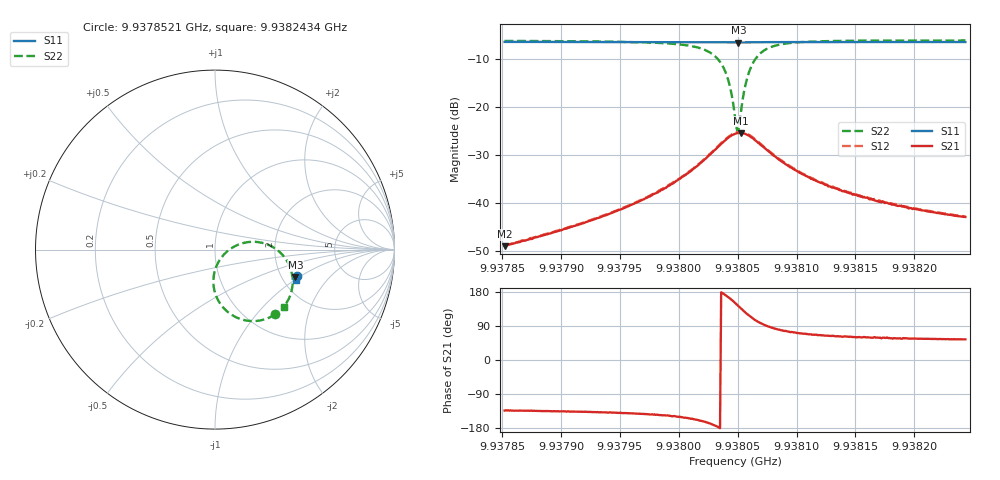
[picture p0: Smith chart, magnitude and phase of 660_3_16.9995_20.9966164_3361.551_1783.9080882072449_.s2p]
#  HZ  S  RI  R  50.00
! Rohde & Schwarz Vector Network Analyzer
! Rohde-Schwarz,ZNB20-2Port,1311601062101988,3.16
! Created: UTC 3/20/2024, 11:21:44 PM
! freq[Hz]  re:S11  im:S11  re:S21  im:S21  re:S12  im:S12  re:S22  im:S22
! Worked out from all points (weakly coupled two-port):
!   401 points, 9.9378521 GHz to 9.9382434 GHz, reference 50 ohm
!   highest |S21| = -25.33 dB at 9.9380527 GHz (marker M1); lowest = -49.0 dB at 9.9378521 GHz (marker M2)
!   lowest |S11| = -6.5 dB at 9.9380507 GHz (marker M3), VSWR 2.80, Z = 118 - j46.9 ohm
!   |S11| at or under -10 dB: nowhere
!   |S22| runs from -25.0 to -6.1 dB; largest |S21 - S12| = 0.0018
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9.93785213e9  0.459 -0.1445  -0.00245 -0.00259  -0.00253 -0.00261  0.3368 -0.3597
9.93791767e9  0.4571 -0.1491  -0.00446 -0.00423  -0.00454 -0.0042  0.3152 -0.3729
9.93795288e9  0.456 -0.1515  -0.00677 -0.00568  -0.00694 -0.00569  0.293 -0.3827
9.93798321e9  0.4547 -0.1538  -0.0109 -0.00757  -0.0112 -0.00763  0.2563 -0.3939
9.93801451e9  0.4527 -0.1563  -0.022 -0.00918  -0.0223 -0.00913  0.1635 -0.393
9.93803114e9  0.4506 -0.1572  -0.036 -0.00411  -0.0369 -0.0038  0.0558 -0.3334
9.93803701e9  0.4495 -0.157  -0.0425 0.00228  -0.0434 0.00304  0.0126 -0.2726
9.93804092e9  0.4487 -0.1563  -0.046 0.00937  -0.0469 0.01  -0.00633 -0.2122
9.93804484e9  0.4483 -0.1556  -0.0474 0.0184  -0.0482 0.0193  -0.00547 -0.1374
9.93804777e9  0.4481 -0.1549  -0.0462 0.0258  -0.0469 0.027  0.0146 -0.0782
9.93804973e9  0.4482 -0.1544  -0.0441 0.0307  -0.0446 0.0322  0.0382 -0.0411
9.9380507e9  0.4482 -0.154  -0.0428 0.0331  -0.0432 0.0345  0.0528 -0.0241
9.93805266e9  0.4486 -0.1537  -0.0392 0.0374  -0.0395 0.0387  0.0865 0.00457
9.9380556e9  0.4491 -0.1532  -0.0328 0.042  -0.033 0.0435  0.1454 0.0334
9.93805853e9  0.4499 -0.1529  -0.0259 0.0445  -0.0256 0.0459  0.2064 0.0435
9.93806244e9  0.4508 -0.1529  -0.0171 0.0449  -0.0165 0.0461  0.2787 0.0332
9.93806831e9  0.452 -0.1534  -0.00669 0.0415  -0.00599 0.0424  0.3557 -0.00961
9.93808396e9  0.4531 -0.1556  0.00463 0.0288  0.00531 0.0292  0.4274 -0.1282
9.93811331e9  0.453 -0.159  0.00705 0.0165  0.0074 0.0166  0.4262 -0.2324
9.93814559e9  0.4519 -0.1616  0.006 0.0111  0.00646 0.0112  0.4101 -0.2759
9.93817885e9  0.4511 -0.1641  0.00523 0.00835  0.00544 0.00825  0.3975 -0.2981
9.93824341e9  0.4492 -0.1685  0.00417 0.00584  0.00434 0.00585  0.3821 -0.3195
